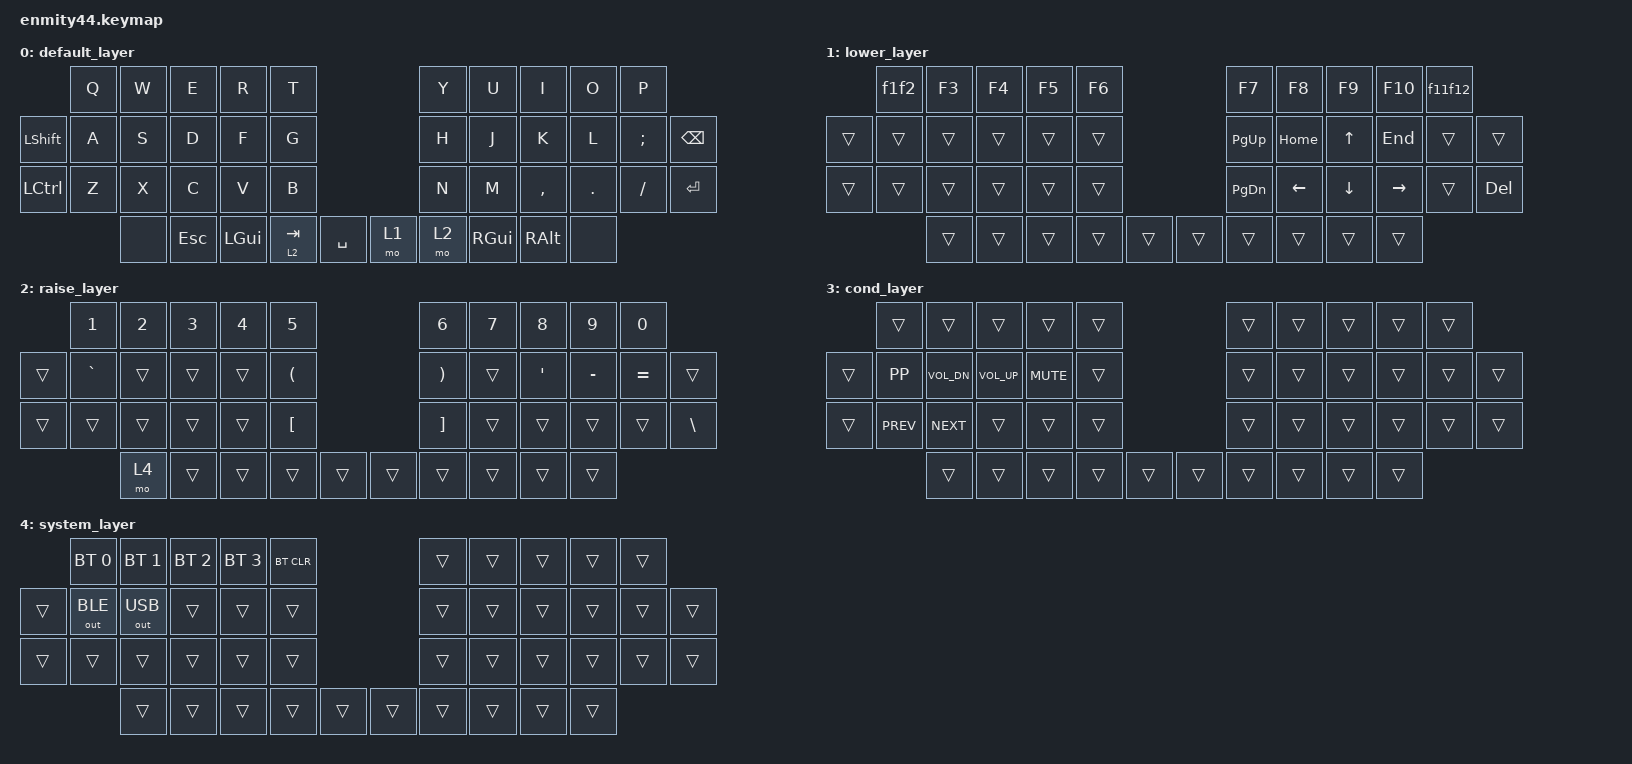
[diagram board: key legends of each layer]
#include <behaviors.dtsi>
#include <dt-bindings/zmk/keys.h>
#include <dt-bindings/zmk/bt.h>
#include <dt-bindings/zmk/outputs.h>

/ {
    conditional_layers {
        compatible = "zmk,conditional-layers";
        tri_layer {
            if-layers = <1 2>;
            then-layer = <3>;
        };
    };

    behaviors {
        f1f2: f1f2 {
            compatible = "zmk,behavior-tap-dance";
            #binding-cells = <0>;
            tapping-term-ms = <200>;
            bindings = <&kp F1>, <&kp F2>;
        };
        f11f12: f11f12 {
            compatible = "zmk,behavior-tap-dance";
            #binding-cells = <0>;
            tapping-term-ms = <200>;
            bindings = <&kp F11>, <&kp F12>;
        };
    };

    keymap {
        compatible = "zmk,keymap";

        default_layer {
            bindings = <
          &kp Q &kp W &kp E   &kp R    &kp T                     &kp Y &kp U    &kp I     &kp O   &kp P
&kp LSHFT &kp A &kp S &kp D   &kp F    &kp G                     &kp H &kp J    &kp K     &kp L   &kp SEMI &kp BSPC
&kp LCTRL &kp Z &kp X &kp C   &kp V    &kp B                     &kp N &kp M    &kp COMMA &kp DOT &kp FSLH &kp RET
                &none &kp ESC &kp LGUI &lt 2 TAB &kp SPACE &mo 1 &mo 2 &kp RGUI &kp RALT  &none
            >;
        };

        lower_layer {
            bindings = <
       &f1f2  &kp F3 &kp F4 &kp F5 &kp F6               &kp F7    &kp F8   &kp F9   &kp F10   &f11f12
&trans &trans &trans &trans &trans &trans               &kp PG_UP &kp HOME &kp UP   &kp END   &trans  &trans
&trans &trans &trans &trans &trans &trans               &kp PG_DN &kp LEFT &kp DOWN &kp RIGHT &trans  &kp DEL
              &trans &trans &trans &trans &trans &trans &trans    &trans   &trans   &trans
            >;
        };

        raise_layer {
            bindings = <
       &kp N1    &kp N2 &kp N3 &kp N4 &kp N5                 &kp N6   &kp N7 &kp N8  &kp N9    &kp N0
&trans &kp GRAVE &trans &trans &trans &kp LPAR               &kp RPAR &trans &kp SQT &kp MINUS &kp EQUAL &trans
&trans &trans    &trans &trans &trans &kp LBKT               &kp RBKT &trans &trans  &trans    &trans    &kp BSLH
                 &mo 4  &trans &trans &trans   &trans &trans &trans   &trans &trans  &trans
            >;
        };

        cond_layer {
            bindings = <
       &trans     &trans       &trans       &trans     &trans               &trans &trans &trans &trans &trans
&trans &kp K_PP   &kp K_VOL_DN &kp K_VOL_UP &kp K_MUTE &trans               &trans &trans &trans &trans &trans &trans
&trans &kp K_PREV &kp K_NEXT   &trans       &trans     &trans               &trans &trans &trans &trans &trans &trans
                  &trans       &trans       &trans     &trans &trans &trans &trans &trans &trans &trans
            >;
        };

        system_layer {
            bindings = <
       &bt BT_SEL 0 &bt BT_SEL 1 &bt BT_SEL 2 &bt BT_SEL 3 &bt BT_CLR               &trans &trans &trans &trans &trans
&trans &out OUT_BLE &out OUT_USB &trans       &trans       &trans                   &trans &trans &trans &trans &trans &trans
&trans &trans       &trans       &trans       &trans       &trans                   &trans &trans &trans &trans &trans &trans
                    &trans       &trans       &trans       &trans     &trans &trans &trans &trans &trans &trans
            >;
        };
    };
};
